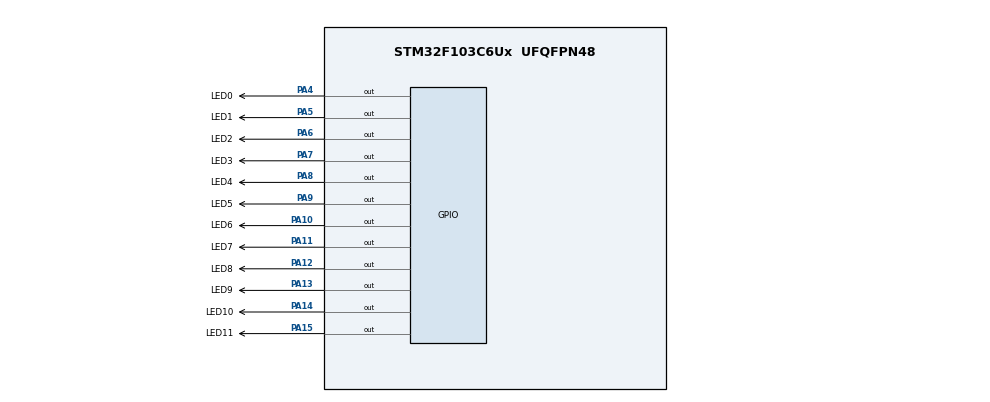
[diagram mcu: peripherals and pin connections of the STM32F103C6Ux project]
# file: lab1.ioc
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Mcu.Family=STM32F1
Mcu.Name=STM32F103C6Ux
Mcu.Package=UFQFPN48
NVIC.PriorityGroup=NVIC_PRIORITYGROUP_4
PA10.GPIO_Label=LED6
PA10.Signal=GPIO_Output
PA11.GPIO_Label=LED7
PA11.Signal=GPIO_Output
PA12.GPIO_Label=LED8
PA12.Signal=GPIO_Output
PA13.GPIO_Label=LED9
PA13.Signal=GPIO_Output
PA14.GPIO_Label=LED10
PA14.Signal=GPIO_Output
PA15.GPIO_Label=LED11
PA15.Signal=GPIO_Output
PA4.GPIO_Label=LED0
PA4.Signal=GPIO_Output
PA5.GPIO_Label=LED1
PA5.Signal=GPIO_Output
PA6.GPIO_Label=LED2
PA6.Signal=GPIO_Output
PA7.GPIO_Label=LED3
PA7.Signal=GPIO_Output
PA8.GPIO_Label=LED4
PA8.Signal=GPIO_Output
PA9.GPIO_Label=LED5
PA9.Signal=GPIO_Output
ProjectManager.HeapSize=0x200
ProjectManager.StackSize=0x400
ProjectManager.TargetToolchain=STM32CubeIDE
RCC.APB1Freq_Value=8000000
RCC.APB2Freq_Value=8000000
VP_SYS_VS_ND.Mode=No_Debug
board=custom

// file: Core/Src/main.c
/* USER CODE BEGIN Header */
/**
  ******************************************************************************
  * @file           : main.c
  * @brief          : Main program body
  ******************************************************************************
  * @attention
  *
  * <h2><center>&copy; Copyright (c) 2023 STMicroelectronics.
  * All rights reserved.</center></h2>
  *
  * This software component is licensed by ST under BSD 3-Clause license,
  * the "License"; You may not use this file except in compliance with the
  * License. You may obtain a copy of the License at:
  *                        opensource.org/licenses/BSD-3-Clause
  *
  ******************************************************************************
  */
/* USER CODE END Header */
#include "main.h"
#include <math.h>

/* USER CODE BEGIN PD */
#define SECOND 5
#define MINUTE 60
#define HOUR   3600
/* USER CODE END PD */

void SystemClock_Config(void);
static void MX_GPIO_Init(void);

void clearAllClock() {
		HAL_GPIO_WritePin(LED0_GPIO_Port,LED0_Pin,SET);
		HAL_GPIO_WritePin(LED1_GPIO_Port,LED1_Pin,SET);
		HAL_GPIO_WritePin(LED2_GPIO_Port,LED2_Pin,SET);
		HAL_GPIO_WritePin(LED3_GPIO_Port,LED3_Pin,SET);
		HAL_GPIO_WritePin(LED4_GPIO_Port,LED4_Pin,SET);
		HAL_GPIO_WritePin(LED5_GPIO_Port,LED5_Pin,SET);
		HAL_GPIO_WritePin(LED6_GPIO_Port,LED6_Pin,SET);
		HAL_GPIO_WritePin(LED7_GPIO_Port,LED7_Pin,SET);
		HAL_GPIO_WritePin(LED8_GPIO_Port,LED8_Pin,SET);
		HAL_GPIO_WritePin(LED9_GPIO_Port,LED9_Pin,SET);
		HAL_GPIO_WritePin(LED10_GPIO_Port,LED10_Pin,SET);
		HAL_GPIO_WritePin(LED11_GPIO_Port,LED11_Pin,SET);
}

void setNumberOnClock(int num) {
	switch (num) {
	case 0:
		HAL_GPIO_WritePin(LED0_GPIO_Port,LED0_Pin,RESET);
		break;
	case 1:
		HAL_GPIO_WritePin(LED1_GPIO_Port,LED1_Pin,RESET);
		break;
	case 2:
		HAL_GPIO_WritePin(LED2_GPIO_Port,LED2_Pin,RESET);
		break;
	case 3:
		HAL_GPIO_WritePin(LED3_GPIO_Port,LED3_Pin,RESET);
		break;
	case 4:
		HAL_GPIO_WritePin(LED4_GPIO_Port,LED4_Pin,RESET);
		break;
	case 5:
		HAL_GPIO_WritePin(LED5_GPIO_Port,LED5_Pin,RESET);
		break;
	case 6:
		HAL_GPIO_WritePin(LED6_GPIO_Port,LED6_Pin,RESET);
		break;
	case 7:
		HAL_GPIO_WritePin(LED7_GPIO_Port,LED7_Pin,RESET);
		break;
	case 8:
		HAL_GPIO_WritePin(LED8_GPIO_Port,LED8_Pin,RESET);
		break;
	case 9:
		HAL_GPIO_WritePin(LED9_GPIO_Port,LED9_Pin,RESET);
		break;
	case 10:
		HAL_GPIO_WritePin(LED10_GPIO_Port,LED10_Pin,RESET);
		break;
	case 11:
		HAL_GPIO_WritePin(LED11_GPIO_Port,LED11_Pin,RESET);
		break;
	}
}

void clearNumberOnClock(int num) {
	switch (num) {
	case 0:
		HAL_GPIO_WritePin(LED0_GPIO_Port,LED0_Pin,SET);
		break;
	case 1:
		HAL_GPIO_WritePin(LED1_GPIO_Port,LED1_Pin,SET);
		break;
	case 2:
		HAL_GPIO_WritePin(LED2_GPIO_Port,LED2_Pin,SET);
		break;
	case 3:
		HAL_GPIO_WritePin(LED3_GPIO_Port,LED3_Pin,SET);
		break;
	case 4:
		HAL_GPIO_WritePin(LED4_GPIO_Port,LED4_Pin,SET);
		break;
	case 5:
		HAL_GPIO_WritePin(LED5_GPIO_Port,LED5_Pin,SET);
		break;
	case 6:
		HAL_GPIO_WritePin(LED6_GPIO_Port,LED6_Pin,SET);
		break;
	case 7:
		HAL_GPIO_WritePin(LED7_GPIO_Port,LED7_Pin,SET);
		break;
	case 8:
		HAL_GPIO_WritePin(LED8_GPIO_Port,LED8_Pin,SET);
		break;
	case 9:
		HAL_GPIO_WritePin(LED9_GPIO_Port,LED9_Pin,SET);
		break;
	case 10:
		HAL_GPIO_WritePin(LED10_GPIO_Port,LED10_Pin,SET);
		break;
	default:
		HAL_GPIO_WritePin(LED11_GPIO_Port,LED11_Pin,SET);
		break;
	}
}

int main(void)
{

  /* MCU Configuration--------------------------------------------------------*/

  /* Reset of all peripherals, Initializes the Flash interface and the Systick. */
  HAL_Init();

  /* Configure the system clock */
  SystemClock_Config();

  /* Initialize all configured peripherals */
  MX_GPIO_Init();

  /* Infinite loop */
  /* USER CODE BEGIN WHILE */
  clearAllClock();
  //initial time 0h 0min 0s
  int second=0,minute=0,hour=0;

  while (1)
  {
	 	  if (second == 60) {
	 		  second = 0;
	 		  minute++;
	 	  }
	 	  if (minute == 60) {
	 		  minute = 0;
	 		  hour++;
	 	  }
	 	  if (hour == 12) {
	 		  hour = 0;
	 	  }
	 	  clearAllClock();
	 	  setNumberOnClock(second/5);
	 	  setNumberOnClock(minute/5);
	 	  setNumberOnClock(hour);
	 	  second++;
	 	  HAL_Delay(100);
    /* USER CODE END WHILE */

  }
}

void SystemClock_Config(void)
{
  RCC_OscInitTypeDef RCC_OscInitStruct = {0};
  RCC_ClkInitTypeDef RCC_ClkInitStruct = {0};

  /** Initializes the RCC Oscillators according to the specified parameters
  * in the RCC_OscInitTypeDef structure.
  */
  RCC_OscInitStruct.OscillatorType = RCC_OSCILLATORTYPE_HSI;
  RCC_OscInitStruct.HSIState = RCC_HSI_ON;
  RCC_OscInitStruct.HSICalibrationValue = RCC_HSICALIBRATION_DEFAULT;
  RCC_OscInitStruct.PLL.PLLState = RCC_PLL_NONE;
  if (HAL_RCC_OscConfig(&RCC_OscInitStruct) != HAL_OK)
  {
    Error_Handler();
  }
  /** Initializes the CPU, AHB and APB buses clocks
  */
  RCC_ClkInitStruct.ClockType = RCC_CLOCKTYPE_HCLK|RCC_CLOCKTYPE_SYSCLK
                              |RCC_CLOCKTYPE_PCLK1|RCC_CLOCKTYPE_PCLK2;
  RCC_ClkInitStruct.SYSCLKSource = RCC_SYSCLKSOURCE_HSI;
  RCC_ClkInitStruct.AHBCLKDivider = RCC_SYSCLK_DIV1;
  RCC_ClkInitStruct.APB1CLKDivider = RCC_HCLK_DIV1;
  RCC_ClkInitStruct.APB2CLKDivider = RCC_HCLK_DIV1;

  if (HAL_RCC_ClockConfig(&RCC_ClkInitStruct, FLASH_LATENCY_0) != HAL_OK)
  {
    Error_Handler();
  }
}

static void MX_GPIO_Init(void)
{
  GPIO_InitTypeDef GPIO_InitStruct = {0};

  /* GPIO Ports Clock Enable */
  __HAL_RCC_GPIOA_CLK_ENABLE();

  /*Configure GPIO pin Output Level */
  HAL_GPIO_WritePin(GPIOA, LED0_Pin|LED1_Pin|LED2_Pin|LED3_Pin
                          |LED4_Pin|LED5_Pin|LED6_Pin|LED7_Pin
                          |LED8_Pin|LED9_Pin|LED10_Pin|LED11_Pin, GPIO_PIN_RESET);

  /*Configure GPIO pins : LED0_Pin LED1_Pin LED2_Pin LED3_Pin
                           LED4_Pin LED5_Pin LED6_Pin LED7_Pin
                           LED8_Pin LED9_Pin LED10_Pin LED11_Pin */
  GPIO_InitStruct.Pin = LED0_Pin|LED1_Pin|LED2_Pin|LED3_Pin
                          |LED4_Pin|LED5_Pin|LED6_Pin|LED7_Pin
                          |LED8_Pin|LED9_Pin|LED10_Pin|LED11_Pin;
  GPIO_InitStruct.Mode = GPIO_MODE_OUTPUT_PP;
  GPIO_InitStruct.Pull = GPIO_NOPULL;
  GPIO_InitStruct.Speed = GPIO_SPEED_FREQ_LOW;
  HAL_GPIO_Init(GPIOA, &GPIO_InitStruct);

}

void Error_Handler(void)
{
  __disable_irq();
  while (1)
  {
  }
}

/************************ (C) COPYRIGHT STMicroelectronics *****END OF FILE****/
